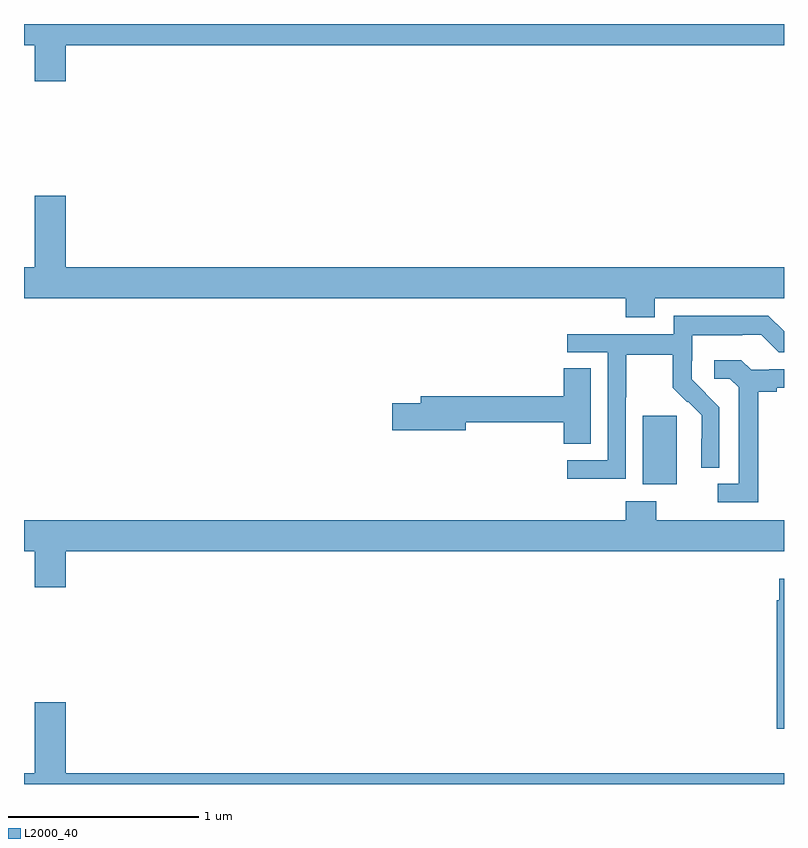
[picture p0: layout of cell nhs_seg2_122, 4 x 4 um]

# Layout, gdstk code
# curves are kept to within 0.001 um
import gdstk
lib = gdstk.Library(unit=1e-6, precision=1e-09)
def R(c, l, rs):  # rectangles x0, y0, x1, y1
    for r in rs: c.add(gdstk.rectangle(r[:2], r[2:], *l))
def P(c, l, *ps):  # polygons
    for p in ps: c.add(gdstk.Polygon(p, *l))
L2000_40 = (2000, 40)

nhs_seg2_122 = lib.new_cell('nhs_seg2_122')
R(nhs_seg2_122, L2000_40, [(120.257,593.378,120.436,593.739)])
P(nhs_seg2_122, L2000_40, [(117.22,595.688),(121,595.688),(121,595.8),(117,595.8),(117,595.688),(117.056,595.688),(117.056,595.5),(117.22,595.5)],
  [(120.319,594.356),(121,594.356),(121,594.52),(117.22,594.52),(117.22,594.895),(117.056,594.895),(117.056,594.52),(117,594.52),(117,594.356),(120.167,594.356),(120.167,594.257),(120.319,594.257)],
  [(120.168,593.836),(120.171,593.836),(120.171,594.06),(120.415,594.06),(120.415,593.885),(120.492,593.808),(120.495,593.811),(120.566,593.741),(120.566,593.618),(120.564,593.618),(120.564,593.464),(120.66,593.464),(120.66,593.782),(120.514,593.93),(120.514,594.027),(120.516,594.027),(120.516,594.161),(120.779,594.161),(120.779,594.165),(120.879,594.165),(120.972,594.072),(121,594.072),(121,594.182),(120.917,594.265),(120.42,594.265),(120.42,594.168),(119.859,594.168),(119.859,594.072),(120.072,594.072),(120.072,593.505),(119.859,593.505),(119.859,593.407),(120.168,593.407)],
  [(120.865,593.864),(120.961,593.864),(120.961,593.886),(121,593.886),(121,593.982),(120.922,593.982),(120.922,593.979),(120.828,593.979),(120.776,594.031),(120.633,594.031),(120.633,593.934),(120.714,593.934),(120.761,593.887),(120.761,593.379),(120.651,593.379),(120.651,593.283),(120.865,593.283)],
  [(119.983,593.987),(119.84,593.987),(119.84,593.84),(119.087,593.84),(119.087,593.804),(118.938,593.804),(118.938,593.662),(119.326,593.662),(119.326,593.704),(119.84,593.704),(119.84,593.59),(119.983,593.59)],
  [(117.22,593.024),(121,593.024),(121,593.188),(120.327,593.188),(120.327,593.287),(120.167,593.287),(120.167,593.188),(117,593.188),(117,593.024),(117.056,593.024),(117.056,592.836),(117.22,592.836)],
  [(121,592.879),(120.974,592.879),(120.974,592.766),(120.962,592.766),(120.962,592.092),(121,592.092)],
  [(121,591.856),(117.22,591.856),(117.22,592.231),(117.056,592.231),(117.056,591.856),(117,591.856),(117,591.8),(121,591.8)])

lib.write_gds('nhs_seg2_122.gds')
